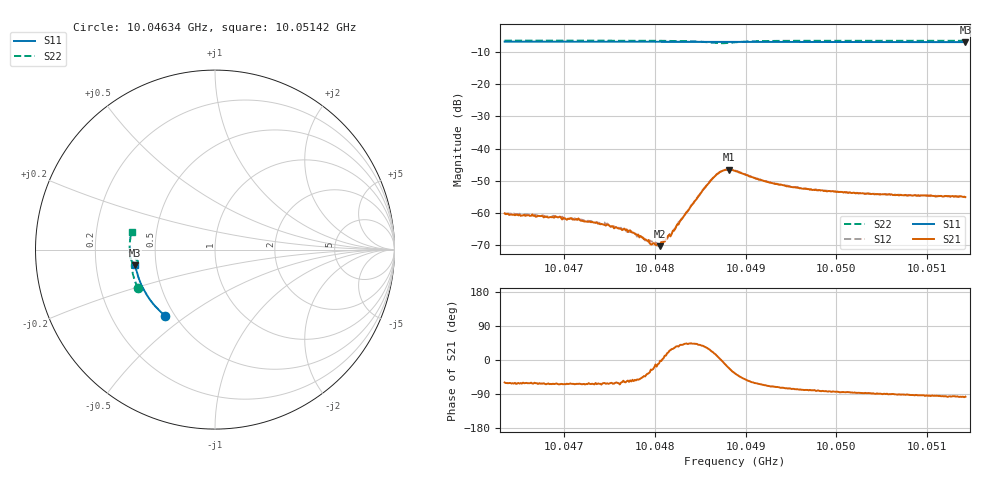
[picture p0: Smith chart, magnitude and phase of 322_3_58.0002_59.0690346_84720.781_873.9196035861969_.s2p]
#  HZ  S  RI  R  50.00
! Rohde & Schwarz Vector Network Analyzer
! Rohde-Schwarz,ZNB20-2Port,1311601062101988,3.16
! Created: UTC 3/21/2024, 1:04:45 AM
! freq[Hz]  re:S11  im:S11  re:S21  im:S21  re:S12  im:S12  re:S22  im:S22
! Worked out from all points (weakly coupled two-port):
!   401 points, 10.04634 GHz to 10.05142 GHz, reference 50 ohm
!   highest |S21| = -46.55 dB at 10.04882 GHz (marker M1); lowest = -70.3 dB at 10.04806 GHz (marker M2)
!   lowest |S11| = -6.9 dB at 10.05142 GHz (marker M3), VSWR 2.65, Z = 19 - j4.19 ohm
!   |S11| at or under -10 dB: nowhere
!   |S22| runs from -7.2 to -6.4 dB; largest |S21 - S12| = 0.00034
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1.0046345e10  -0.2773 -0.3686  0.000502 -0.000843  0.000542 -0.00081  -0.4289 -0.216
1.0046802e10  -0.3002 -0.3488  0.000382 -0.000783  0.000444 -0.000757  -0.441 -0.1876
1.0046928e10  -0.3064 -0.3432  0.000387 -0.00076  0.00044 -0.000745  -0.4442 -0.1799
1.0047195e10  -0.3188 -0.3308  0.000332 -0.000681  0.000373 -0.00069  -0.4502 -0.1625
1.0047461e10  -0.3309 -0.3179  0.00029 -0.000567  0.000352 -0.00054  -0.4555 -0.1447
1.0047601e10  -0.3369 -0.311  0.000276 -0.000505  0.000323 -0.000492  -0.4579 -0.1352
1.004769e10  -0.3409 -0.3065  0.000309 -0.000461  0.000323 -0.000398  -0.4593 -0.129
1.0047753e10  -0.3434 -0.3034  0.000304 -0.000391  0.000292 -0.000402  -0.4602 -0.1246
1.0047829e10  -0.3466 -0.2994  0.00026 -0.000324  0.000273 -0.000322  -0.4613 -0.1189
1.0047969e10  -0.3525 -0.2921  0.000292 -0.000141  0.000326 -0.000153  -0.4627 -0.1084
1.0048045e10  -0.3554 -0.2882  0.000304 -5.08e-05  0.000342 -2.14e-05  -0.4634 -0.1025
1.0048058e10  -0.356 -0.2875  0.000304 -9.91e-06  0.000333 2.46e-06  -0.4635 -0.1014
1.0048198e10  -0.3614 -0.2801  0.000459 0.000256  0.000449 0.000267  -0.4638 -0.0901
1.0048413e10  -0.3697 -0.2684  0.000992 0.000925  0.000939 0.000987  -0.4599 -0.0704
1.0048629e10  -0.3772 -0.2566  0.00308 0.00127  0.00305 0.00146  -0.4407 -0.0561
1.0048731e10  -0.3807 -0.251  0.00442 -2.41e-05  0.00446 0.000233  -0.4304 -0.064
1.0048819e10  -0.3836 -0.2462  0.00436 -0.00178  0.00449 -0.00154  -0.4343 -0.0752
1.0048883e10  -0.3859 -0.243  0.00365 -0.00262  0.00389 -0.00238  -0.4423 -0.0783
1.0049276e10  -0.3987 -0.2203  0.00102 -0.00277  0.00122 -0.00274  -0.4697 -0.0503
1.0049733e10  -0.4117 -0.1932  0.000394 -0.00224  0.000529 -0.00226  -0.4753 -0.0147
1.0050583e10  -0.4311 -0.1408  1.34e-08 -0.00196  0.000108 -0.00193  -0.4739 0.0444
1.0051421e10  -0.4437 -0.0876  -0.000211 -0.00175  -0.00012 -0.00174  -0.465 0.0996
